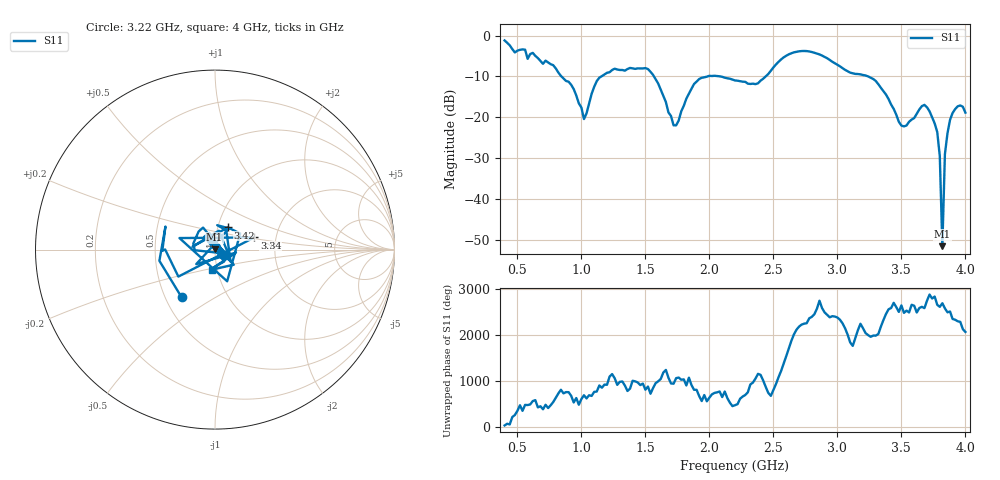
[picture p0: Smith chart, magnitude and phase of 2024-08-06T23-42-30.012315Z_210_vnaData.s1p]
!Created with skrf (http://scikit-rf.org).
# Hz S RI R 50.0
!freq ReS11 ImS11
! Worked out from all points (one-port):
!   181 points, 400 MHz to 4 GHz, reference 50 ohm
!   lowest |S11| = -51.6 dB at 3.82 GHz (marker M1), VSWR 1.01, Z = 49.7 + j0.0755 ohm
!   |S11| at or under -10 dB: 1.567 GHz to 1.986 GHz (419.2 MHz wide, 23.6 % of centre); 2.083 GHz to 2.439 GHz (355.9 MHz wide, 15.7 % of centre); 3.24 GHz to end of sweep (the widest 3 of 4)
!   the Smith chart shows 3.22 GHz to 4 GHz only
!   S11 on the Smith chart (normalised r, x): 3.22 GHz: 0.61, -0.36; 3.34 GHz: 1.54, +0.22; 3.42 GHz: 1.12, +0.28; 4 GHz: 0.94, -0.21
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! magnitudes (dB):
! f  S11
! 400 MHz  -1.2
! 860 MHz  -10.5
! 940 MHz  -13.1
! 1.02 GHz  -20.5
! 1.12 GHz  -11.2
! 1.3 GHz  -8.4
! 1.52 GHz  -8.2
! 1.6 GHz  -11.8
! 1.72 GHz  -22.0
! 1.76 GHz  -20.8
! 1.92 GHz  -10.6
! 2.2 GHz  -11.0
! 2.38 GHz  -11.7
! 2.66 GHz  -4.1
! 3.1 GHz  -9.1
! 3.22 GHz  -9.8
! 3.34 GHz  -12.8
! 3.42 GHz  -16.9
! 3.5 GHz  -22.0
! 3.56 GHz  -21.1
! 3.68 GHz  -17.0
! 3.78 GHz  -23.6
! 3.8 GHz  -29.5
! 3.82 GHz  -51.6
! 3.84 GHz  -29.1
! 3.86 GHz  -24.0
! 3.92 GHz  -18.0
! 4 GHz  -18.9
